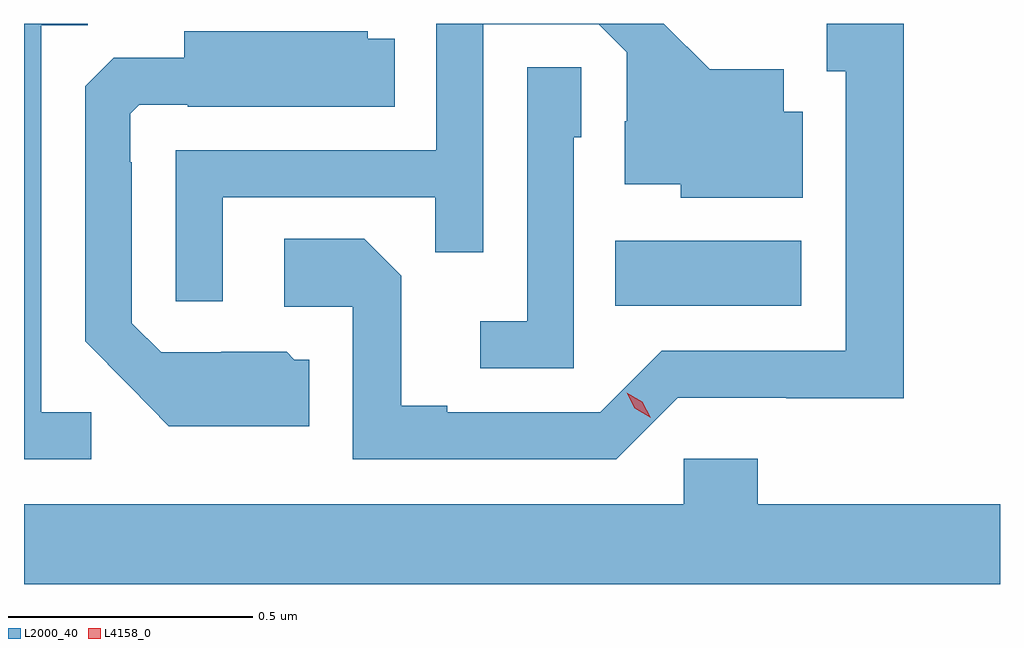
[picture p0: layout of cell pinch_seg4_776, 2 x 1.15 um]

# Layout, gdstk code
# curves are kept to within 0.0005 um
import gdstk
lib = gdstk.Library(unit=1e-6, precision=1e-09)
def R(c, l, rs):  # rectangles x0, y0, x1, y1
    for r in rs: c.add(gdstk.rectangle(r[:2], r[2:], *l))
def P(c, l, *ps):  # polygons
    for p in ps: c.add(gdstk.Polygon(p, *l))
L2000_40 = (2000, 40)
L4158_0 = (4158, 0)

pinch_seg4_776 = lib.new_cell('pinch_seg4_776')
R(pinch_seg4_776, L2000_40, [(784.276,814.706,784.657,814.84)])
P(pinch_seg4_776, L2000_40, [(784.404,814.518),(784.626,814.518),(784.626,814.517),(784.867,814.517),(784.867,815.284),(784.709,815.284),(784.709,815.187),(784.748,815.187),(784.748,814.614),(784.371,814.614),(784.245,814.488),(783.931,814.488),(783.931,814.501),(783.837,814.501),(783.837,814.768),(783.761,814.844),(783.597,814.844),(783.597,814.704),(783.738,814.704),(783.738,814.392),(784.278,814.392)],
  [(783.202,814.488),(783.099,814.488),(783.099,815.281),(783.195,815.281),(783.195,815.284),(783.064,815.284),(783.064,814.392),(783.202,814.392)],
  [(783.471,814.929),(783.907,814.929),(783.907,814.816),(784.005,814.816),(784.005,815.283),(784.242,815.283),(784.299,815.226),(784.299,815.084),(784.295,815.084),(784.295,814.955),(784.41,814.955),(784.41,814.928),(784.66,814.928),(784.66,815.104),(784.621,815.104),(784.621,815.191),(784.469,815.191),(784.375,815.284),(783.909,815.284),(783.909,815.025),(783.375,815.025),(783.375,814.716),(783.471,814.716)],
  [(783.649,814.596),(783.618,814.596),(783.602,814.612),(783.468,814.612),(783.468,814.611),(783.345,814.611),(783.285,814.671),(783.285,815),(783.282,815),(783.282,815.1),(783.3,815.118),(783.4,815.118),(783.4,815.114),(783.824,815.114),(783.824,815.254),(783.768,815.254),(783.768,815.269),(783.392,815.269),(783.392,815.215),(783.248,815.215),(783.189,815.156),(783.189,814.634),(783.361,814.46),(783.649,814.46)],
  [(784.191,815.052),(784.206,815.052),(784.206,815.195),(784.095,815.195),(784.095,814.675),(783.999,814.675),(783.999,814.578),(784.191,814.578)],
  [(785.064,814.3),(784.568,814.3),(784.568,814.393),(784.416,814.393),(784.416,814.3),(783.064,814.3),(783.064,814.136),(785.064,814.136)])
P(pinch_seg4_776, L4158_0, [(784.348,814.477),(784.316,814.496),(784.299,814.528),(784.299,814.528),(784.299,814.528),(784.331,814.51),(784.348,814.477),(784.348,814.477)])

lib.write_gds('pinch_seg4_776.gds')
